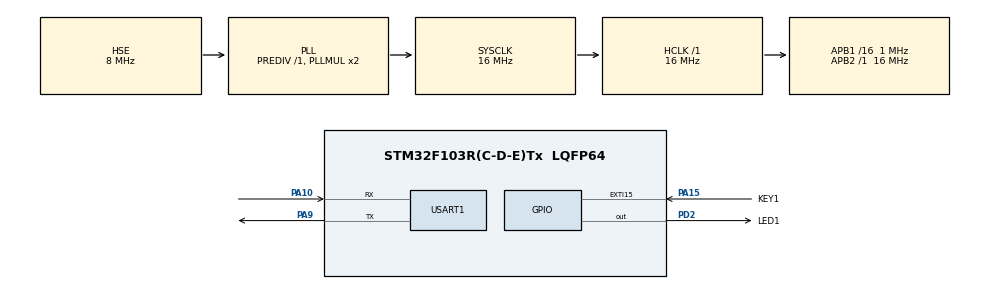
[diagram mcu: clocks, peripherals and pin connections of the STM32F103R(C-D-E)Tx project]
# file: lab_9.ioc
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Mcu.Family=STM32F1
Mcu.Name=STM32F103R(C-D-E)Tx
Mcu.Package=LQFP64
NVIC.EXTI15_10_IRQn=true\:1\:0\:true\:false\:true\:true\:true\:true
NVIC.PriorityGroup=NVIC_PRIORITYGROUP_2
NVIC.TIM3_IRQn=true\:0\:0\:false\:false\:true\:true\:true\:true
NVIC.WWDG_IRQn=true\:1\:0\:true\:false\:true\:true\:true\:true
PA10.Mode=Asynchronous
PA10.Signal=USART1_RX
PA15.GPIO_Label=KEY1
PA15.GPIO_ModeDefaultEXTI=GPIO_MODE_IT_FALLING
PA15.GPIO_PuPd=GPIO_PULLUP
PA15.Signal=GPXTI15
PA9.Mode=Asynchronous
PA9.Signal=USART1_TX
PD0-OSC_IN.Mode=HSE-External-Oscillator
PD0-OSC_IN.Signal=RCC_OSC_IN
PD1-OSC_OUT.Mode=HSE-External-Oscillator
PD1-OSC_OUT.Signal=RCC_OSC_OUT
PD2.GPIO_Label=LED1
PD2.PinState=GPIO_PIN_SET
PD2.Signal=GPIO_Output
ProjectManager.HeapSize=0x200
ProjectManager.StackSize=0x400
ProjectManager.TargetToolchain=STM32CubeIDE
RCC.AHBFreq_Value=16000000
RCC.APB1CLKDivider=RCC_HCLK_DIV16
RCC.APB1Freq_Value=1000000
RCC.APB1TimFreq_Value=2000000
RCC.APB2Freq_Value=16000000
RCC.APB2TimFreq_Value=16000000
RCC.HCLKFreq_Value=16000000
RCC.PLLSourceVirtual=RCC_PLLSOURCE_HSE
RCC.SYSCLKFreq_VALUE=16000000
RCC.SYSCLKSource=RCC_SYSCLKSOURCE_PLLCLK
RCC.USBFreq_Value=16000000
TIM3.Period=999
TIM3.Prescaler=333
USART1.VirtualMode=VM_ASYNC
VP_TIM3_VS_ClockSourceINT.Mode=Internal
VP_WWDG_VS_WWDG.Mode=WWDG_Activate
WWDG.Counter=127
WWDG.EWIMode=WWDG_EWI_ENABLE
WWDG.Prescaler=WWDG_PRESCALER_8
WWDG.Window=95
board=custom

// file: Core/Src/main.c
/* USER CODE BEGIN Header */
/**
 ******************************************************************************
 * @file           : main.c
 * @brief          : Main program body
 ******************************************************************************
 * @attention
 *
 * Copyright (c) 2023 STMicroelectronics.
 * All rights reserved.
 *
 * This software is licensed under terms that can be found in the LICENSE file
 * in the root directory of this software component.
 * If no LICENSE file comes with this software, it is provided AS-IS.
 *
 ******************************************************************************
 */
/* USER CODE END Header */
#include "main.h"

/* USER CODE BEGIN Includes */
#include <stdio.h>
#include <string.h>
#include <stdlib.h>
/* USER CODE END Includes */

TIM_HandleTypeDef htim3;

UART_HandleTypeDef huart1;

WWDG_HandleTypeDef hwwdg;

void SystemClock_Config(void);
static void MX_GPIO_Init(void);
static void MX_USART1_UART_Init(void);
static void MX_WWDG_Init(void);
static void MX_TIM3_Init(void);

int main(void)
{

  /* MCU Configuration--------------------------------------------------------*/

  /* Reset of all peripherals, Initializes the Flash interface and the Systick. */
  HAL_Init();

  /* Configure the system clock */
  SystemClock_Config();

  /* Initialize all configured peripherals */
  MX_GPIO_Init();
  MX_USART1_UART_Init();
  MX_WWDG_Init();
  MX_TIM3_Init();
  /* USER CODE BEGIN 2 */
  __HAL_TIM_CLEAR_IT(&htim3, TIM_IT_UPDATE);
HAL_TIM_Base_Start_IT(&htim3);
  /* USER CODE END 2 */

  /* Infinite loop */
  /* USER CODE BEGIN WHILE */
    HAL_GPIO_WritePin(GPIOD, LED1_Pin, SET);
    int i = 0;
    unsigned char * msg = calloc(100, sizeof (char));
    HAL_UART_Transmit(&huart1, "Restart\r\n", 9, HAL_MAX_DELAY);
    while (1) {
    /* USER CODE END WHILE */

    /* USER CODE BEGIN 3 */
        i++;
        sprintf((char *)msg, "i = %d\r\n", i);
        HAL_UART_Transmit(&huart1, (uint8_t *)msg, strlen(msg), HAL_MAX_DELAY);
        HAL_Delay(1000);
    }
  /* USER CODE END 3 */
}

void SystemClock_Config(void)
{
  RCC_OscInitTypeDef RCC_OscInitStruct = {0};
  RCC_ClkInitTypeDef RCC_ClkInitStruct = {0};

  /** Initializes the RCC Oscillators according to the specified parameters
  * in the RCC_OscInitTypeDef structure.
  */
  RCC_OscInitStruct.OscillatorType = RCC_OSCILLATORTYPE_HSE;
  RCC_OscInitStruct.HSEState = RCC_HSE_ON;
  RCC_OscInitStruct.HSEPredivValue = RCC_HSE_PREDIV_DIV1;
  RCC_OscInitStruct.HSIState = RCC_HSI_ON;
  RCC_OscInitStruct.PLL.PLLState = RCC_PLL_ON;
  RCC_OscInitStruct.PLL.PLLSource = RCC_PLLSOURCE_HSE;
  RCC_OscInitStruct.PLL.PLLMUL = RCC_PLL_MUL2;
  if (HAL_RCC_OscConfig(&RCC_OscInitStruct) != HAL_OK)
  {
    Error_Handler();
  }

  /** Initializes the CPU, AHB and APB buses clocks
  */
  RCC_ClkInitStruct.ClockType = RCC_CLOCKTYPE_HCLK|RCC_CLOCKTYPE_SYSCLK
                              |RCC_CLOCKTYPE_PCLK1|RCC_CLOCKTYPE_PCLK2;
  RCC_ClkInitStruct.SYSCLKSource = RCC_SYSCLKSOURCE_PLLCLK;
  RCC_ClkInitStruct.AHBCLKDivider = RCC_SYSCLK_DIV1;
  RCC_ClkInitStruct.APB1CLKDivider = RCC_HCLK_DIV16;
  RCC_ClkInitStruct.APB2CLKDivider = RCC_HCLK_DIV1;

  if (HAL_RCC_ClockConfig(&RCC_ClkInitStruct, FLASH_LATENCY_0) != HAL_OK)
  {
    Error_Handler();
  }
}

static void MX_TIM3_Init(void)
{

  TIM_ClockConfigTypeDef sClockSourceConfig = {0};
  TIM_MasterConfigTypeDef sMasterConfig = {0};

  htim3.Instance = TIM3;
  htim3.Init.Prescaler = 1999;
  htim3.Init.CounterMode = TIM_COUNTERMODE_UP;
  htim3.Init.Period = 1635;
  htim3.Init.ClockDivision = TIM_CLOCKDIVISION_DIV1;
  htim3.Init.AutoReloadPreload = TIM_AUTORELOAD_PRELOAD_DISABLE;
  if (HAL_TIM_Base_Init(&htim3) != HAL_OK)
  {
    Error_Handler();
  }
  sClockSourceConfig.ClockSource = TIM_CLOCKSOURCE_INTERNAL;
  if (HAL_TIM_ConfigClockSource(&htim3, &sClockSourceConfig) != HAL_OK)
  {
    Error_Handler();
  }
  sMasterConfig.MasterOutputTrigger = TIM_TRGO_RESET;
  sMasterConfig.MasterSlaveMode = TIM_MASTERSLAVEMODE_DISABLE;
  if (HAL_TIMEx_MasterConfigSynchronization(&htim3, &sMasterConfig) != HAL_OK)
  {
    Error_Handler();
  }

}

static void MX_USART1_UART_Init(void)
{

  huart1.Instance = USART1;
  huart1.Init.BaudRate = 115200;
  huart1.Init.WordLength = UART_WORDLENGTH_8B;
  huart1.Init.StopBits = UART_STOPBITS_1;
  huart1.Init.Parity = UART_PARITY_NONE;
  huart1.Init.Mode = UART_MODE_TX_RX;
  huart1.Init.HwFlowCtl = UART_HWCONTROL_NONE;
  huart1.Init.OverSampling = UART_OVERSAMPLING_16;
  if (HAL_UART_Init(&huart1) != HAL_OK)
  {
    Error_Handler();
  }

}

static void MX_WWDG_Init(void)
{

  hwwdg.Instance = WWDG;
  hwwdg.Init.Prescaler = WWDG_PRESCALER_8;
  hwwdg.Init.Window = 95;
  hwwdg.Init.Counter = 127;
  hwwdg.Init.EWIMode = WWDG_EWI_ENABLE;
  if (HAL_WWDG_Init(&hwwdg) != HAL_OK)
  {
    Error_Handler();
  }

}

static void MX_GPIO_Init(void)
{
  GPIO_InitTypeDef GPIO_InitStruct = {0};

  /* GPIO Ports Clock Enable */
  __HAL_RCC_GPIOD_CLK_ENABLE();
  __HAL_RCC_GPIOA_CLK_ENABLE();

  /*Configure GPIO pin Output Level */
  HAL_GPIO_WritePin(LED1_GPIO_Port, LED1_Pin, GPIO_PIN_SET);

  /*Configure GPIO pin : KEY1_Pin */
  GPIO_InitStruct.Pin = KEY1_Pin;
  GPIO_InitStruct.Mode = GPIO_MODE_IT_FALLING;
  GPIO_InitStruct.Pull = GPIO_PULLUP;
  HAL_GPIO_Init(KEY1_GPIO_Port, &GPIO_InitStruct);

  /*Configure GPIO pin : LED1_Pin */
  GPIO_InitStruct.Pin = LED1_Pin;
  GPIO_InitStruct.Mode = GPIO_MODE_OUTPUT_PP;
  GPIO_InitStruct.Pull = GPIO_NOPULL;
  GPIO_InitStruct.Speed = GPIO_SPEED_FREQ_LOW;
  HAL_GPIO_Init(LED1_GPIO_Port, &GPIO_InitStruct);

  /* EXTI interrupt init*/
  HAL_NVIC_SetPriority(EXTI15_10_IRQn, 1, 0);
  HAL_NVIC_EnableIRQ(EXTI15_10_IRQn);

}

void Error_Handler(void)
{
  /* USER CODE BEGIN Error_Handler_Debug */
    /* User can add his own implementation to report the HAL error return state
     */
    __disable_irq();
    while (1) {
    }
  /* USER CODE END Error_Handler_Debug */
}

#ifdef  USE_FULL_ASSERT
/**
  * @brief  Reports the name of the source file and the source line number
  *         where the assert_param error has occurred.
  * @param  file: pointer to the source file name
  * @param  line: assert_param error line source number
  * @retval None
  */
void assert_failed(uint8_t *file, uint32_t line)
{
  /* USER CODE BEGIN 6 */
    /* User can add his own implementation to report the file name and line
       number, ex: printf("Wrong parameters value: file %s on line %d\r\n",
       file, line) */
  /* USER CODE END 6 */
}
#endif /* USE_FULL_ASSERT */
